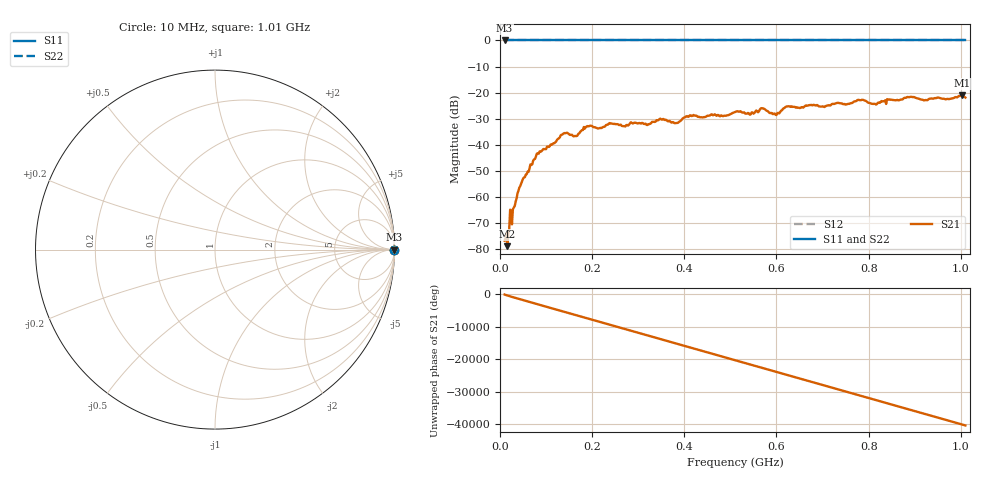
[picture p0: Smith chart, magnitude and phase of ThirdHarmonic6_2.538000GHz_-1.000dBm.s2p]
! 8/17/2025 5:06:32 AM
! C:\ANRITSUVNA\TEMP\TEMP.S2P
! CHANNEL.1
! TR.MEASUREMENT
! RAW.DATA
! RF.CORRECTION.OFF
! AVERAGING.OFF
! IF.BANDWIDTH: 5KHZ
! SWEEPTYPE:  FREQ.SWEEP(Linear)
! Reference Plane Port Info
! PORT:  PORT1  PORT2
! DISTANCE:  0  m  0  m
! TIME:  0  s  0  s
! PHASE.OFFSET:  0  deg.  0  deg.
! LOSS:  0  dB  0  dB
! REF.LOSS:  0  dB  0  dB
! REF.FREQ:  0  Hz  0  Hz
! Power Info
! POWER:  -20  dBm  -20  dBm
! EFF.POWER:  -20  dBm  -20  dBm
! SOURCE.ATTEN:  0  dB  0  dB
! TEST.ATTEN:  0  dB  0  dB
# GHZ S RI R 50.0
! FREQ.GHZ  S11RE  S11IM  S21RE  S21IM  S12RE  S12IM  S22RE  S22IM
!; PortSelection: Port_12
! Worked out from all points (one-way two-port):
!   501 points, 10 MHz to 1.01 GHz, reference 50 ohm
!   highest |S21| = -21.13 dB at 1.002 GHz (marker M1); lowest = -79.0 dB at 16 MHz (marker M2)
!   lowest |S11| = 0.0 dB at 10 MHz (marker M3)
!   |S11| at or under -10 dB: nowhere
!   |S22| runs from 0.0 to 0.0 dB; largest |S21 - S12| = 1.1
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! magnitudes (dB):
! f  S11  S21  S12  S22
! 10 MHz  0.0  -76.9  0.0  0.0
! 16 MHz  0.0  -79.0  0.0  0.0
! 26 MHz  0.0  -70.6  0.0  0.0
! 42 MHz  0.0  -56.5  0.0  0.0
! 82 MHz  0.0  -43.4  0.0  0.0
! 136 MHz  0.0  -36.0  0.0  0.0
! 164 MHz  0.0  -36.7  0.0  0.0
! 178 MHz  0.0  -34.4  0.0  0.0
! 344 MHz  0.0  -30.6  0.0  0.0
! 382 MHz  0.0  -31.7  0.0  0.0
! 416 MHz  0.0  -29.0  0.0  0.0
! 510 MHz  0.0  -27.5  0.0  0.0
! 546 MHz  0.0  -27.7  0.0  0.0
! 570 MHz  0.0  -26.0  0.0  0.0
! 596 MHz  0.0  -28.0  0.0  0.0
! 624 MHz  0.0  -25.3  0.0  0.0
! 678 MHz  0.0  -24.9  0.0  0.0
! 782 MHz  0.0  -23.0  0.0  0.0
! 814 MHz  0.0  -24.3  0.0  0.0
! 844 MHz  0.0  -22.7  0.0  0.0
! 1.002 GHz  0.0  -21.1  0.0  0.0
! 1.01 GHz  0.0  -21.9  0.0  0.0
